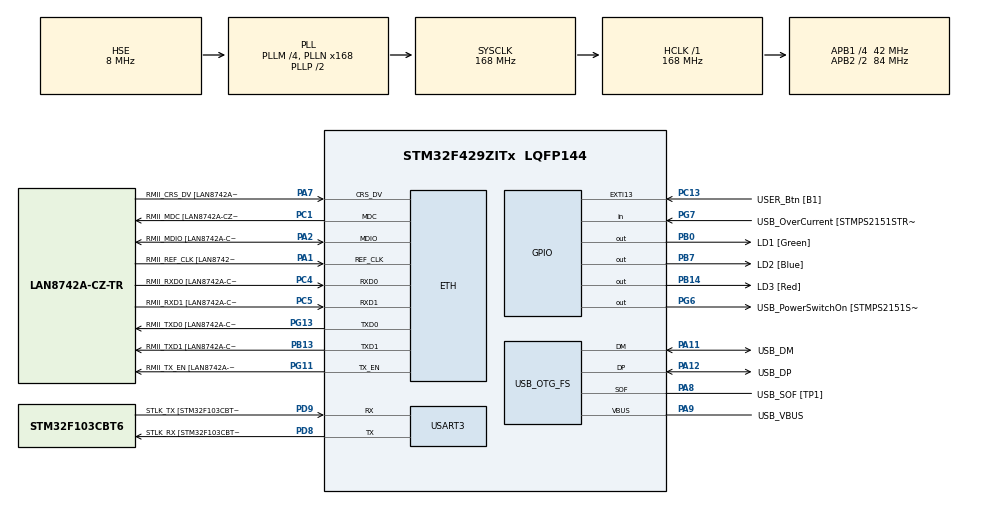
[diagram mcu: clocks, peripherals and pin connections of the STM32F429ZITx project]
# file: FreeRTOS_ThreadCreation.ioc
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ETH.MediaInterface=ETH_MEDIA_INTERFACE_RMII
ETH.PHY_Name=LAN8742A_PHY_ADDRESS
ETH.PHY_Value=0
ETH.PhyAddress=0
FREERTOS.Tasks01=defaultTask,0,128,StartDefaultTask,Default,NULL,Dynamic,NULL,NULL
Mcu.Family=STM32F4
Mcu.Name=STM32F429ZITx
Mcu.Package=LQFP144
NVIC.PriorityGroup=NVIC_PRIORITYGROUP_4
PA1.GPIO_Label=RMII_REF_CLK [LAN8742A-CZ-TR_REFCLK0]
PA1.Mode=RMII
PA1.Signal=ETH_REF_CLK
PA10.GPIO_Label=USB_ID
PA10.Signal=USB_OTG_FS_ID
PA11.GPIO_Label=USB_DM
PA11.Mode=Device_Only
PA11.Signal=USB_OTG_FS_DM
PA12.GPIO_Label=USB_DP
PA12.Mode=Device_Only
PA12.Signal=USB_OTG_FS_DP
PA13.GPIO_Label=TMS
PA13.Mode=Serial_Wire
PA13.Signal=SYS_JTMS-SWDIO
PA14.GPIO_Label=TCK
PA14.Mode=Serial_Wire
PA14.Signal=SYS_JTCK-SWCLK
PA2.GPIO_Label=RMII_MDIO [LAN8742A-CZ-TR_MDIO]
PA2.Mode=RMII
PA2.Signal=ETH_MDIO
PA7.GPIO_Label=RMII_CRS_DV [LAN8742A-CZ-TR_CRS_DV]
PA7.Mode=RMII
PA7.Signal=ETH_CRS_DV
PA8.GPIO_Label=USB_SOF [TP1]
PA8.Mode=Activate_SOF_FS
PA8.Signal=USB_OTG_FS_SOF
PA9.GPIO_Label=USB_VBUS
PA9.Mode=Activate_VBUS
PA9.Signal=USB_OTG_FS_VBUS
PB0.GPIO_Label=LD1 [Green]
PB0.Signal=GPIO_Output
PB13.GPIO_Label=RMII_TXD1 [LAN8742A-CZ-TR_TXD1]
PB13.Mode=RMII
PB13.Signal=ETH_TXD1
PB14.GPIO_Label=LD3 [Red]
PB14.Signal=GPIO_Output
PB7.GPIO_Label=LD2 [Blue]
PB7.Signal=GPIO_Output
PC1.GPIO_Label=RMII_MDC [LAN8742A-CZ-TR_MDC]
PC1.Mode=RMII
PC1.Signal=ETH_MDC
PC13.GPIO_Label=USER_Btn [B1]
PC13.Signal=GPXTI13
PC14/OSC32_IN.Mode=LSE-External-Oscillator
PC14/OSC32_IN.Signal=RCC_OSC32_IN
PC15/OSC32_OUT.Mode=LSE-External-Oscillator
PC15/OSC32_OUT.Signal=RCC_OSC32_OUT
PC4.GPIO_Label=RMII_RXD0 [LAN8742A-CZ-TR_RXD0]
PC4.Mode=RMII
PC4.Signal=ETH_RXD0
PC5.GPIO_Label=RMII_RXD1 [LAN8742A-CZ-TR_RXD1]
PC5.Mode=RMII
PC5.Signal=ETH_RXD1
PD8.GPIO_Label=STLK_RX [STM32F103CBT6_PA3]
PD8.Mode=Asynchronous
PD8.Signal=USART3_TX
PD9.GPIO_Label=STLK_TX [STM32F103CBT6_PA2]
PD9.Mode=Asynchronous
PD9.Signal=USART3_RX
PG11.GPIO_Label=RMII_TX_EN [LAN8742A-CZ-TR_TXEN]
PG11.Mode=RMII
PG11.Signal=ETH_TX_EN
PG13.GPIO_Label=RMII_TXD0 [LAN8742A-CZ-TR_TXD0]
PG13.Mode=RMII
PG13.Signal=ETH_TXD0
PG6.GPIO_Label=USB_PowerSwitchOn [STMPS2151STR_EN]
PG6.Signal=GPIO_Output
PG7.GPIO_Label=USB_OverCurrent [STMPS2151STR_FAULT]
PG7.Signal=GPIO_Input
PH0/OSC_IN.GPIO_Label=MCO [STM32F103CBT6_PA8]
PH0/OSC_IN.Mode=HSE-External-Clock-Source
PH0/OSC_IN.Signal=RCC_OSC_IN
PH1/OSC_OUT.Mode=HSE-External-Clock-Source
PH1/OSC_OUT.Signal=RCC_OSC_OUT
ProjectManager.HeapSize=0x200
ProjectManager.StackSize=0x400
ProjectManager.TargetToolchain=STM32CubeIDE
RCC.48MHZClocksFreq_Value=48000000
RCC.AHBFreq_Value=168000000
RCC.APB1CLKDivider=RCC_HCLK_DIV4
RCC.APB1Freq_Value=42000000
RCC.APB1TimFreq_Value=84000000
RCC.APB2CLKDivider=RCC_HCLK_DIV2
RCC.APB2Freq_Value=84000000
RCC.APB2TimCLKDivider=2
RCC.APB2TimFreq_Value=168000000
RCC.CortexFreq_Value=168000000
RCC.HCLKFreq_Value=168000000
RCC.HSE_VALUE=8000000
RCC.HSI_VALUE=16000000
RCC.PLLM=4
RCC.PLLMUL=RCC_PLL_MUL9
RCC.PLLN=168
RCC.PLLQ=7
RCC.PRESCALERUSB=RCC_USBCLKSOURCE_PLL_DIV1_5
RCC.SYSCLKFreq_VALUE=168000000
RCC.SYSCLKSource=RCC_SYSCLKSOURCE_PLLCLK
RCC.SYSCLKSourceVirtual=RCC_SYSCLKSOURCE_PLLCLK
RCC.USBFreq_Value=48000000
RCC.VCOOutputFreq_Value=336000000
USART3.VirtualMode=VM_ASYNC
USB_OTG_FS.VirtualMode=Device_Only
VP_FREERTOS_VS_CMSIS_V1.Mode=CMSIS_V1
board=NUCLEO-F429ZI

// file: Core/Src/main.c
/* USER CODE BEGIN Header */
/**
  ******************************************************************************
  * @file           : main.c
  * @brief          : Main program body
  ******************************************************************************
  * @attention
  *
  * Copyright (c) 2022 STMicroelectronics.
  * All rights reserved.
  *
  * This software is licensed under terms that can be found in the LICENSE file
  * in the root directory of this software component.
  * If no LICENSE file comes with this software, it is provided AS-IS.
  *
  ******************************************************************************
  */
/* USER CODE END Header */
#include "main.h"
#include "cmsis_os.h"

/* USER CODE BEGIN Includes */
/* Demo includes. */
#include <stdio.h>
#include <string.h>
/* USER CODE END Includes */

/* USER CODE BEGIN PD */
typedef enum
{
    TECLA,
    LED
} tecla_led_state_t;

#define LED_RATE_MS 1000

#define KEYS_INVALID_TIME   -1
#define DEBOUNCE_TIME_MS   40

typedef enum
{
    STATE_BUTTON_UP,
    STATE_BUTTON_DOWN,
    STATE_BUTTON_FALLING,
    STATE_BUTTON_RISING
} keys_ButtonState_t;

typedef struct
{
    keys_ButtonState_t state;   //variables

    TickType_t time_down;		//timestamp of the last High to Low transition of the key
    TickType_t time_up;		    //timestamp of the last Low to High transition of the key
    TickType_t time_diff;	    //variables
} t_key_data;

t_key_data keys_data;

/* USER CODE END PD */

UART_HandleTypeDef huart3;

PCD_HandleTypeDef hpcd_USB_OTG_FS;

osThreadId defaultTaskHandle;

void SystemClock_Config(void);
static void MX_GPIO_Init(void);
static void MX_USART3_UART_Init(void);
void StartDefaultTask(void const * argument);

/* USER CODE BEGIN PFP */
void vPrintString( const char *pcString );

TickType_t get_diff( void );
void clear_diff( void );

// Prototipo de funcion de la tarea
void productoEscalar32 (uint32_t * vectorIn, uint32_t *vectorOut, uint32_t longitud, uint32_t escalar);
void task_tecla_led( void* taskParmPtr );

/* USER CODE END PFP */

/* USER CODE BEGIN 0 */

void vPrintString( const char *pcString )
{
	/* Print the string, using a critical section as a crude method of mutual
	exclusion. */
	taskENTER_CRITICAL();

		HAL_UART_Transmit(&huart3, (uint8_t *)pcString, (uint16_t) strlen((char *)pcString), 10);

	taskEXIT_CRITICAL();
}

TickType_t get_diff( void )
{
    TickType_t tiempo;

    tiempo = keys_data.time_diff;

    return tiempo;
}

void clear_diff( void )
{
    keys_data.time_diff = KEYS_INVALID_TIME;
}

void productoEscalar32 (uint32_t * vectorIn, uint32_t *vectorOut, uint32_t longitud, uint32_t escalar)
{char buffer1 [50];
int i=0;

    vPrintString( "INGRESO A LA FUNCION PRODUCTO \r\n" );
    vPrintString ("Los valores de: ");
    sprintf( buffer1, "Longitud = %lu y Escalar = %lu \r\n", longitud,escalar);
       HAL_UART_Transmit(&huart3, (uint8_t*) buffer1, strlen(buffer1), 1000);

    //muestra los elementos del vectorOut
    while(i<longitud)
    {
    	vectorOut[i]=escalar*vectorIn[i];
    sprintf( buffer1, "VectorOut [%d] = %lu \r\n", i,vectorOut[i]);
    HAL_UART_Transmit(&huart3, (uint8_t*) buffer1, strlen(buffer1), 1000);
    i++;
    }
}

// Implementacion de funcion de la tarea
void task_tecla_led( void* taskParmPtr )
{
    // ---------- CONFIGURACIONES ------------------------------
	char buffer [50];
	uint32_t vectorIn[10]={1,2,3,4}, *vectorOut;
		uint32_t longitud=4, escalar=5;
		int index=0;

		  //muestra el vector con los valores originales
		    while(index<longitud)
		{
		  if(index==0) vPrintString( "VALORES ORIGINALES DEL VECTOR_IN \r\n" );

		  sprintf( buffer, "VECTOR_IN [%d] = %lu \r\n", index,vectorIn[index]);
		  HAL_UART_Transmit(&huart3, (uint8_t*) buffer, strlen(buffer), 1000);
		  index++;

		}
         productoEscalar32 (vectorIn, &vectorOut,longitud,escalar);

	tecla_led_state_t tecla_led_state = TECLA;

	TickType_t dif;

	keys_data.state          = STATE_BUTTON_UP;  		// Set initial state
    keys_data.time_down      = KEYS_INVALID_TIME;
    keys_data.time_up        = KEYS_INVALID_TIME;
    keys_data.time_diff      = KEYS_INVALID_TIME;

    vPrintString( "      Task: task_tecla_led\r\n" );

	// ---------- REPETIR POR SIEMPRE --------------------------
    while( 1 )
    {
    	if( tecla_led_state == TECLA)
    	{
    		switch( keys_data.state )
    		{
            	case STATE_BUTTON_UP:
            		/* CHECK TRANSITION CONDITIONS */
            		if (HAL_GPIO_ReadPin(USER_Btn_GPIO_Port, USER_Btn_Pin))
            		{
            			keys_data.state = STATE_BUTTON_FALLING;
            			vPrintString( "            keys_data.state: STATE_BUTTON_FALLING\r\n" );
            		}
            		break;

            	case STATE_BUTTON_FALLING:
            		/* ENTRY */

            		/* CHECK TRANSITION CONDITIONS */
            		if (HAL_GPIO_ReadPin(USER_Btn_GPIO_Port, USER_Btn_Pin))
            		{
            			keys_data.state = STATE_BUTTON_DOWN;
            			vPrintString( "            keys_data.state: STATE_BUTTON_DOWN\r\n" );

            			/* ACCION DEL EVENTO !*/
            			keys_data.time_down = xTaskGetTickCount();
            		}
            		else
            		{
            			keys_data.state = STATE_BUTTON_UP;
                    	vPrintString( "            keys_data.state: STATE_BUTTON_UP\r\n" );
            		}

            		/* LEAVE */
            		break;

            	case STATE_BUTTON_DOWN:
            		/* CHECK TRANSITION CONDITIONS */
            		if (!HAL_GPIO_ReadPin(USER_Btn_GPIO_Port, USER_Btn_Pin))
            		{
            			keys_data.state = STATE_BUTTON_RISING;
            			vPrintString( "            keys_data.state: STATE_BUTTON_RISING\r\n" );
            		}
            		break;

            	case STATE_BUTTON_RISING:
            		/* ENTRY */

            		/* CHECK TRANSITION CONDITIONS */

            		if (!HAL_GPIO_ReadPin(USER_Btn_GPIO_Port, USER_Btn_Pin))
            		{
            			tecla_led_state = LED;

            			keys_data.state = STATE_BUTTON_UP;
            			vPrintString( "            keys_data.state: STATE_BUTTON_UP\r\n" );

            			/* ACCION DEL EVENTO ! */
            			keys_data.time_up    = xTaskGetTickCount();
            			keys_data.time_diff  = keys_data.time_up - keys_data.time_down;
            		}
            		else
            		{
            			keys_data.state = STATE_BUTTON_DOWN;
            			vPrintString( "            keys_data.state: STATE_BUTTON_DOWN\r\n" );
            		}

            		/* LEAVE */
            		break;

            	default:
            		keys_data.state = STATE_BUTTON_UP;
            		vPrintString( "            keys_data.state: STATE_BUTTON_UP\r\n" );

            		break;
    		}
    		// Envia la tarea al estado bloqueado durante DEBOUNCE_TIME_MS
    		vTaskDelay( DEBOUNCE_TIME_MS / portTICK_RATE_MS );
    	}

    	if( tecla_led_state == LED)
    	{
            dif = get_diff();

            if( dif != KEYS_INVALID_TIME )
            {
                if( dif > LED_RATE_MS )
                {
                    dif = LED_RATE_MS;
                }
    			tecla_led_state = TECLA;

        		sprintf( buffer, "            led_state: Encendido - dif %u\r\n", (unsigned int)dif );
        		vPrintString( buffer );
            	HAL_GPIO_WritePin( LD1_GPIO_Port, LD1_Pin, GPIO_PIN_SET );

                // Envia la tarea al estado bloqueado durante dif
                vTaskDelay( dif / portTICK_RATE_MS );

            	vPrintString( "            led_state: Apagado\r\n" );
            	HAL_GPIO_WritePin( LD1_GPIO_Port, LD1_Pin, GPIO_PIN_RESET );

                clear_diff();
            }
            else
            {
                // Envia la tarea al estado bloqueado durante LED_RATE_MS
                vTaskDelay( LED_RATE_MS / portTICK_RATE_MS );
            }
    	}
    }
}

/* USER CODE END 0 */

int main( void )
{

  /* MCU Configuration--------------------------------------------------------*/

  /* Reset of all peripherals, Initializes the Flash interface and the Systick. */
  HAL_Init();

  /* Configure the system clock */
  SystemClock_Config();

  /* Initialize all configured peripherals */
  MX_GPIO_Init();
  MX_USART3_UART_Init();

  /* USER CODE BEGIN 2 */
	vPrintString( "Main: Ejercicio 02 -Language C - AdM.\r\n" );

  /* USER CODE END 2 */

  /* Create the thread(s) */
  /* definition and creation of defaultTask */
  osThreadDef(defaultTask, StartDefaultTask, osPriorityNormal, 0, 128);
  defaultTaskHandle = osThreadCreate(osThread(defaultTask), NULL);

  /* USER CODE BEGIN RTOS_THREADS */
  /* add threads, ... */

    // Crear tareas en freeRTOS
    BaseType_t res =
    	xTaskCreate (
              task_tecla_led,					// Funcion de la tarea a ejecutar
              ( const char * )"task_tecla_led",	// Nombre de la tarea como String amigable para el usuario
              configMINIMAL_STACK_SIZE*2,		// Cantidad de stack de la tarea
              NULL,								// Parametros de tarea
              tskIDLE_PRIORITY+1,				// Prioridad de la tarea
              NULL								// Puntero a la tarea creada en el sistema
          );

    // Gestion de errores
    //if(res == pdFAIL)
    //{
    //	gpioWrite( LEDR, ON );
    //	vPrintString( "Error al crear las tareas.\r\n" );
    //	while(TRUE);						// VER ESTE LINK: https://pbs.twimg.com/media/BafQje7CcAAN5en.jpg
    //}
    configASSERT( res == pdPASS);	// gestion de errores

  /* USER CODE END RTOS_THREADS */

  /* Start scheduler */
  osKernelStart();

  // ---------- REPETIR POR SIEMPRE --------------------------
  //while( TRUE )
  //{
  // Si cae en este while 1 significa que no pudo iniciar el scheduler
  //}
  configASSERT( 0 );

  // NO DEBE LLEGAR NUNCA AQUI, debido a que a este programa se ejecuta
  // directamenteno sobre un microcontroladore y no es llamado por ningun
  // Sistema Operativo, como en el caso de un programa para PC.
}

void SystemClock_Config(void)
{
  RCC_OscInitTypeDef RCC_OscInitStruct = {0};
  RCC_ClkInitTypeDef RCC_ClkInitStruct = {0};

  /** Configure the main internal regulator output voltage
  */
  __HAL_RCC_PWR_CLK_ENABLE();
  __HAL_PWR_VOLTAGESCALING_CONFIG(PWR_REGULATOR_VOLTAGE_SCALE1);
  /** Initializes the RCC Oscillators according to the specified parameters
  * in the RCC_OscInitTypeDef structure.
  */
  RCC_OscInitStruct.OscillatorType = RCC_OSCILLATORTYPE_HSE;
  RCC_OscInitStruct.HSEState = RCC_HSE_BYPASS;
  RCC_OscInitStruct.PLL.PLLState = RCC_PLL_ON;
  RCC_OscInitStruct.PLL.PLLSource = RCC_PLLSOURCE_HSE;
  RCC_OscInitStruct.PLL.PLLM = 4;
  RCC_OscInitStruct.PLL.PLLN = 168;
  RCC_OscInitStruct.PLL.PLLP = RCC_PLLP_DIV2;
  RCC_OscInitStruct.PLL.PLLQ = 7;
  if (HAL_RCC_OscConfig(&RCC_OscInitStruct) != HAL_OK)
  {
    Error_Handler();
  }
  /** Initializes the CPU, AHB and APB buses clocks
  */
  RCC_ClkInitStruct.ClockType = RCC_CLOCKTYPE_HCLK|RCC_CLOCKTYPE_SYSCLK
                              |RCC_CLOCKTYPE_PCLK1|RCC_CLOCKTYPE_PCLK2;
  RCC_ClkInitStruct.SYSCLKSource = RCC_SYSCLKSOURCE_PLLCLK;
  RCC_ClkInitStruct.AHBCLKDivider = RCC_SYSCLK_DIV1;
  RCC_ClkInitStruct.APB1CLKDivider = RCC_HCLK_DIV4;
  RCC_ClkInitStruct.APB2CLKDivider = RCC_HCLK_DIV2;

  if (HAL_RCC_ClockConfig(&RCC_ClkInitStruct, FLASH_LATENCY_5) != HAL_OK)
  {
    Error_Handler();
  }
}

static void MX_USART3_UART_Init(void)
{

  huart3.Instance = USART3;
  huart3.Init.BaudRate = 115200;
  huart3.Init.WordLength = UART_WORDLENGTH_8B;
  huart3.Init.StopBits = UART_STOPBITS_1;
  huart3.Init.Parity = UART_PARITY_NONE;
  huart3.Init.Mode = UART_MODE_TX_RX;
  huart3.Init.HwFlowCtl = UART_HWCONTROL_NONE;
  huart3.Init.OverSampling = UART_OVERSAMPLING_16;
  if (HAL_UART_Init(&huart3) != HAL_OK)
  {
    Error_Handler();
  }

}

static void MX_GPIO_Init(void)
{
  GPIO_InitTypeDef GPIO_InitStruct = {0};

  /* GPIO Ports Clock Enable */
  __HAL_RCC_GPIOC_CLK_ENABLE();
  __HAL_RCC_GPIOH_CLK_ENABLE();
  __HAL_RCC_GPIOA_CLK_ENABLE();
  __HAL_RCC_GPIOB_CLK_ENABLE();
  __HAL_RCC_GPIOD_CLK_ENABLE();
  __HAL_RCC_GPIOG_CLK_ENABLE();

  /*Configure GPIO pin Output Level */
  HAL_GPIO_WritePin(GPIOB, LD1_Pin|LD3_Pin|LD2_Pin, GPIO_PIN_RESET);

  /*Configure GPIO pin Output Level */
  HAL_GPIO_WritePin(USB_PowerSwitchOn_GPIO_Port, USB_PowerSwitchOn_Pin, GPIO_PIN_RESET);

  /*Configure GPIO pin : USER_Btn_Pin */
  GPIO_InitStruct.Pin = USER_Btn_Pin;
  GPIO_InitStruct.Mode = GPIO_MODE_IT_RISING;
  GPIO_InitStruct.Pull = GPIO_NOPULL;
  HAL_GPIO_Init(USER_Btn_GPIO_Port, &GPIO_InitStruct);

  /*Configure GPIO pins : LD1_Pin LD3_Pin LD2_Pin */
  GPIO_InitStruct.Pin = LD1_Pin|LD3_Pin|LD2_Pin;
  GPIO_InitStruct.Mode = GPIO_MODE_OUTPUT_PP;
  GPIO_InitStruct.Pull = GPIO_NOPULL;
  GPIO_InitStruct.Speed = GPIO_SPEED_FREQ_LOW;
  HAL_GPIO_Init(GPIOB, &GPIO_InitStruct);

  /*Configure GPIO pin : USB_PowerSwitchOn_Pin */
  GPIO_InitStruct.Pin = USB_PowerSwitchOn_Pin;
  GPIO_InitStruct.Mode = GPIO_MODE_OUTPUT_PP;
  GPIO_InitStruct.Pull = GPIO_NOPULL;
  GPIO_InitStruct.Speed = GPIO_SPEED_FREQ_LOW;
  HAL_GPIO_Init(USB_PowerSwitchOn_GPIO_Port, &GPIO_InitStruct);

  /*Configure GPIO pin : USB_OverCurrent_Pin */
  GPIO_InitStruct.Pin = USB_OverCurrent_Pin;
  GPIO_InitStruct.Mode = GPIO_MODE_INPUT;
  GPIO_InitStruct.Pull = GPIO_NOPULL;
  HAL_GPIO_Init(USB_OverCurrent_GPIO_Port, &GPIO_InitStruct);

}

void StartDefaultTask(void const * argument)
{
  for(;;)
  {
    osDelay(1);
  }
}

void Error_Handler(void)
{
  __disable_irq();
  while (1)
  {
  }
}
